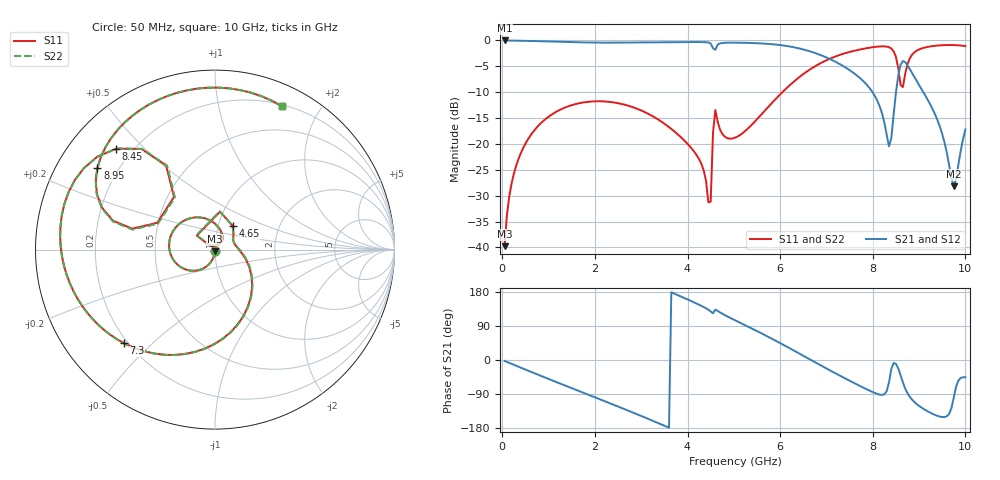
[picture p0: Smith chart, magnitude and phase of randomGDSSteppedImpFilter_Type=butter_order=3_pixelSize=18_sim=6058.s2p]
! freq	dB(S11)	phase(S11)	dB(S12)	phase(S12)
!  dB(S21)	phase(S21)	dB(S22)	phase(S22)
!S-par simulation data
#  GHz  S  DB  R 50
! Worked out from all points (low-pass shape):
!   200 points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, 50 MHz to 10 GHz, reference 50 ohm
!   highest |S21| = -0.01 dB at 50 MHz (marker M1); lowest = -28.2 dB at 9.75 GHz (marker M2)
!   |S21| within 3 dB of the highest: start of sweep to 6.923 GHz
!   lowest |S11| = -39.8 dB at 50 MHz (marker M3), VSWR 1.02, Z = 49.9 - j1.03 ohm
!   |S11| at or under -10 dB: start of sweep to 6.047 GHz
!   |S22| runs from -39.7 to -0.9 dB; largest |S21 - S12| = 0
!   S11 on the Smith chart (normalised r, x): 50 MHz: 1.00, -0.02; 4.65 GHz: 1.17, +0.32; 7.3 GHz: 0.19, -0.41; 8.45 GHz: 0.14, +0.41; 8.95 GHz: 0.12, +0.31; 10 GHz: 0.22, +1.55
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0.05  -39.75 -92.8  -0.01 -2.6  -0.01 -2.6  -39.75 -92.7
0.2  -27.68 -100.5  -0.02 -10.2  -0.02 -10.2  -27.68 -100.5
0.5  -19.94 -115.7  -0.07 -25.3  -0.07 -25.3  -19.94 -115.7
1.75  -11.99 -177.2  -0.38 -86.4  -0.38 -86.4  -11.98 -177.1
3.4  -15.47 100.9  -0.34 -168.2  -0.34 -168.2  -15.47 101.6
4.25  -22.95 54.3  -0.32 145.8  -0.32 145.8  -22.94 57.0
4.45  -31.29 59.9  -0.40 132.7  -0.40 132.7  -30.85 66.7
4.5  -31.15 140.4  -0.58 128.2  -0.58 128.2  -30.08 138.5
4.6  -13.44 82.5  -1.81 132.9  -1.81 132.9  -13.36 82.8
4.65  -15.65 53.1  -0.82 129.9  -0.82 129.9  -15.60 54.0
5.05  -18.71 12.3  -0.43 103.5  -0.43 103.5  -18.70 14.1
6.05  -9.98 -50.3  -0.95 41.3  -0.95 41.3  -9.98 -49.6
6.7  -5.29 -94.0  -2.27 -2.3  -2.27 -2.3  -5.29 -93.6
7.3  -2.76 -134.2  -4.64 -42.0  -4.64 -42.0  -2.77 -134.1
8.05  -1.25 175.2  -10.81 -87.3  -10.81 -87.3  -1.25 175.3
8.35  -1.31 148.2  -20.47 -59.2  -20.47 -59.2  -1.31 148.1
8.45  -2.08 134.4  -14.36 -8.0  -14.36 -8.0  -2.10 134.1
8.6  -8.59 127.9  -4.73 -40.1  -4.73 -40.1  -8.72 127.6
8.7  -6.45 165.8  -4.17 -75.2  -4.17 -75.2  -6.51 166.4
8.95  -1.97 145.3  -7.89 -116.4  -7.89 -116.4  -1.98 145.5
9.75  -0.90 84.8  -28.20 -98.6  -28.20 -98.6  -0.90 84.9
10  -1.09 65.1  -17.19 -45.6  -17.19 -45.6  -1.10 65.0
